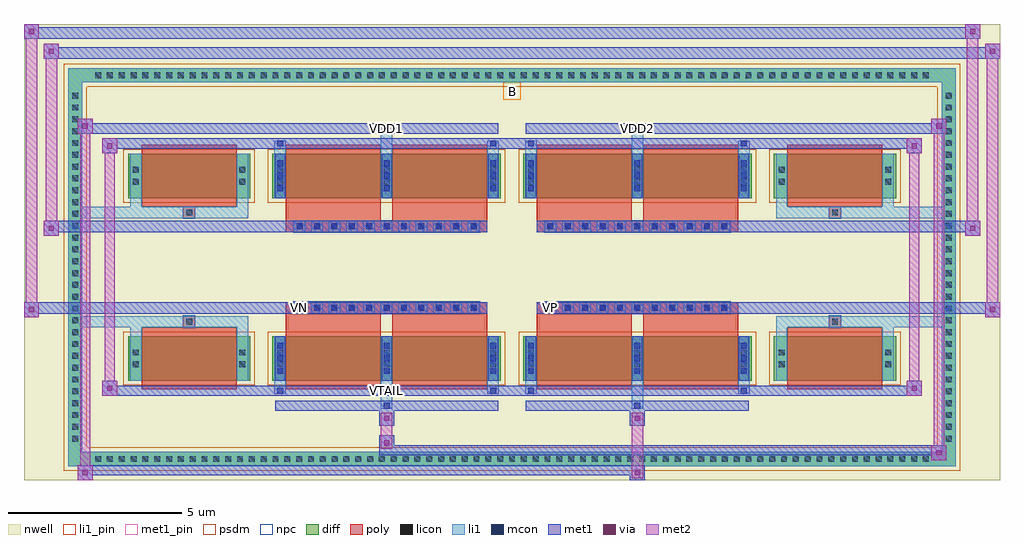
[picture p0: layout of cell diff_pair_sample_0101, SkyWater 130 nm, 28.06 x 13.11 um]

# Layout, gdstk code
import gdstk
lib = gdstk.Library(unit=1e-6, precision=5e-09)
def R(c, l, rs):  # rectangles x0, y0, x1, y1
    for r in rs: c.add(gdstk.rectangle(r[:2], r[2:], *l))
def A(c, l, x, y, w, h, nx, ny, dx, dy):  # array of equal rectangles
    R(c, l, [(x+i*dx, y+j*dy, x+i*dx+w, y+j*dy+h) for i in range(nx) for j in range(ny)])
def P(c, l, *ps):  # polygons
    for p in ps: c.add(gdstk.Polygon(p, *l))
nwell = (64, 20)
diff = (65, 20)
poly = (66, 20)
licon = (66, 44)
li1_pin = (67, 16)
li1 = (67, 20)
mcon = (67, 44)
met1_pin = (68, 16)
met1 = (68, 20)
via = (68, 44)
met2 = (69, 20)
psdm = (94, 20)
npc = (95, 20)

diff_pair_sample_0101 = lib.new_cell('diff_pair_sample_0101')
R(diff_pair_sample_0101, nwell, [(-14.03,-6.12,14.03,6.99), (-11.35,-4.31,-0.01,-0.805), (0.01,-4.31,11.35,-0.805), (-11.35,0.805,-0.01,4.31), (0.01,0.805,11.35,4.31)])
A(diff_pair_sample_0101, diff, -12.105, -5.72, 0.41, 0.41, 71, 2, 0.34, 11.03)
A(diff_pair_sample_0101, diff, -12.76, -5.135, 0.41, 0.41, 1, 30, 0, 0.34)
A(diff_pair_sample_0101, diff, 12.35, -5.135, 0.41, 0.41, 1, 30, 0, 0.34)
R(diff_pair_sample_0101, diff, [(-12.105,-5.72,12.105,-5.31), (-12.76,-5.135,-12.35,5.135), (12.35,-5.135,12.76,5.135), (-11.04,-3.265,-7.53,-1.985), (-6.89,-3.265,-0.32,-1.985), (0.32,-3.265,6.89,-1.985), (7.53,-3.265,11.04,-1.985), (-11.04,1.985,-7.53,3.265), (-6.89,1.985,-0.32,3.265), (0.32,1.985,6.89,3.265), (7.53,1.985,11.04,3.265), (-12.105,5.31,12.105,5.72)])
P(diff_pair_sample_0101, diff, [(12.76,5.72),(-12.76,5.72),(-12.76,-5.31),(-12.35,-5.31),(-12.35,5.31),(12.35,5.31),(12.35,-5.31),(-12.35,-5.31),(-12.76,-5.31),(-12.76,-5.72),(12.76,-5.72)])
A(diff_pair_sample_0101, poly, -6.27, -1.335, 0.33, 0.33, 11, 2, 0.5, 2.34)
A(diff_pair_sample_0101, poly, 0.94, -1.335, 0.33, 0.33, 11, 2, 0.5, 2.34)
R(diff_pair_sample_0101, poly, [(-10.65,-3.515,-7.92,-1.735), (-6.5,-3.515,-3.77,-1.735), (-3.44,-3.515,-0.71,-1.735), (0.71,-3.515,3.44,-1.735), (3.77,-3.515,6.5,-1.735), (7.92,-3.515,10.65,-1.735), (-9.45,-1.735,-9.12,-1.405), (-9.45,-1.735,-9.12,-1.405), (-6.5,-1.735,-3.77,-1.335), (-3.44,-1.735,-0.71,-1.335), (0.71,-1.735,3.44,-1.335), (3.77,-1.735,6.5,-1.335), (9.12,-1.735,9.45,-1.405), (9.12,-1.735,9.45,-1.405), (-6.5,-1.335,-0.71,-1.005), (0.71,-1.335,6.5,-1.005), (-6.5,1.005,-0.71,1.335), (0.71,1.005,6.5,1.335), (-6.5,1.335,-3.77,1.735), (-3.44,1.335,-0.71,1.735), (0.71,1.335,3.44,1.735), (3.77,1.335,6.5,1.735), (-9.45,1.405,-9.12,1.735), (-9.45,1.405,-9.12,1.735), (9.12,1.405,9.45,1.735), (9.12,1.405,9.45,1.735), (-10.65,1.735,-7.92,3.515), (-6.5,1.735,-3.77,3.515), (-3.44,1.735,-0.71,3.515), (0.71,1.735,3.44,3.515), (3.77,1.735,6.5,3.515), (7.92,1.735,10.65,3.515)])
A(diff_pair_sample_0101, licon, -11.985, -5.6, 0.17, 0.17, 71, 2, 0.34, 11.03)
A(diff_pair_sample_0101, licon, -12.64, -5.015, 0.17, 0.17, 1, 30, 0, 0.34)
A(diff_pair_sample_0101, licon, 12.47, -5.015, 0.17, 0.17, 1, 30, 0, 0.34)
A(diff_pair_sample_0101, licon, -6.75, -2.88, 0.17, 0.17, 3, 2, 3.06, 0.34)
A(diff_pair_sample_0101, licon, 0.46, -2.88, 0.17, 0.17, 3, 2, 3.06, 0.34)
A(diff_pair_sample_0101, licon, -6.19, -1.255, 0.17, 0.17, 11, 2, 0.5, 2.34)
A(diff_pair_sample_0101, licon, 1.02, -1.255, 0.17, 0.17, 11, 2, 0.5, 2.34)
A(diff_pair_sample_0101, licon, -6.75, 2.37, 0.17, 0.17, 3, 2, 3.06, 0.34)
A(diff_pair_sample_0101, licon, 0.46, 2.37, 0.17, 0.17, 3, 2, 3.06, 0.34)
R(diff_pair_sample_0101, licon, [(-10.9,-2.88,-10.73,-2.71), (-7.84,-2.88,-7.67,-2.71), (7.67,-2.88,7.84,-2.71), (10.73,-2.88,10.9,-2.71), (-10.9,-2.54,-10.73,-2.37), (-7.84,-2.54,-7.67,-2.37), (7.67,-2.54,7.84,-2.37), (10.73,-2.54,10.9,-2.37), (-9.37,-1.655,-9.2,-1.485), (9.2,-1.655,9.37,-1.485), (-9.37,1.485,-9.2,1.655), (9.2,1.485,9.37,1.655), (-10.9,2.37,-10.73,2.54), (-7.84,2.37,-7.67,2.54), (7.67,2.37,7.84,2.54), (10.73,2.37,10.9,2.54), (-10.9,2.71,-10.73,2.88), (-7.84,2.71,-7.67,2.88), (7.67,2.71,7.84,2.88), (10.73,2.71,10.9,2.88)])
R(diff_pair_sample_0101, li1_pin, [(-0.25,4.81,0.25,5.31)])
A(diff_pair_sample_0101, li1, -12.065, -5.68, 0.33, 0.33, 71, 2, 0.34, 11.03)
A(diff_pair_sample_0101, li1, -12.72, -5.095, 0.33, 0.33, 1, 30, 0, 0.34)
A(diff_pair_sample_0101, li1, 12.39, -5.095, 0.33, 0.33, 1, 30, 0, 0.34)
A(diff_pair_sample_0101, li1, -6.83, -3.265, 0.33, 1.28, 3, 2, 3.06, 5.25)
A(diff_pair_sample_0101, li1, 0.38, -3.265, 0.33, 1.28, 3, 2, 3.06, 5.25)
A(diff_pair_sample_0101, li1, -6.75, -3.07, 0.17, 0.17, 3, 3, 3.06, 0.36)
A(diff_pair_sample_0101, li1, -6.75, -3.07, 0.17, 0.89, 3, 2, 3.06, 5.25)
A(diff_pair_sample_0101, li1, 0.46, -3.07, 0.17, 0.17, 3, 3, 3.06, 0.36)
A(diff_pair_sample_0101, li1, 0.46, -3.07, 0.17, 0.89, 3, 2, 3.06, 5.25)
A(diff_pair_sample_0101, li1, -6.83, -2.96, 0.33, 0.33, 3, 2, 3.06, 0.34)
A(diff_pair_sample_0101, li1, 0.38, -2.96, 0.33, 0.33, 3, 2, 3.06, 0.34)
A(diff_pair_sample_0101, li1, -6.27, -1.335, 0.33, 0.33, 11, 2, 0.5, 2.34)
A(diff_pair_sample_0101, li1, 0.94, -1.335, 0.33, 0.33, 11, 2, 0.5, 2.34)
A(diff_pair_sample_0101, li1, -6.75, 2.18, 0.17, 0.17, 3, 3, 3.06, 0.36)
A(diff_pair_sample_0101, li1, 0.46, 2.18, 0.17, 0.17, 3, 3, 3.06, 0.36)
A(diff_pair_sample_0101, li1, -6.83, 2.29, 0.33, 0.33, 3, 2, 3.06, 0.34)
A(diff_pair_sample_0101, li1, 0.38, 2.29, 0.33, 0.33, 3, 2, 3.06, 0.34)
R(diff_pair_sample_0101, li1, [(-12.76,-5.72,-12.35,-5.31), (-12.76,-5.72,-12.35,-5.31), (-12.35,-5.72,12.35,-5.31), (12.35,-5.72,12.76,-5.31), (12.35,-5.72,12.76,-5.31), (-12.76,-5.31,-12.35,5.31), (12.35,-5.31,12.76,5.31), (-3.77,-4.07,-3.44,-3.265), (-3.69,-4.07,-3.52,-3.9), (3.44,-4.07,3.77,-3.265), (3.52,-4.07,3.69,-3.9), (-6.83,-3.64,-6.5,-3.265), (-6.75,-3.64,-6.58,-3.47), (-0.71,-3.64,-0.38,-3.265), (-0.63,-3.64,-0.46,-3.47), (0.38,-3.64,0.71,-3.265), (0.46,-3.64,0.63,-3.47), (6.5,-3.64,6.83,-3.265), (6.58,-3.64,6.75,-3.47), (-10.98,-3.265,-10.65,-1.985), (-7.92,-3.265,-7.59,-1.985), (7.59,-3.265,7.92,-1.985), (10.65,-3.265,10.98,-1.985), (-10.98,-2.96,-10.65,-2.63), (-7.92,-2.96,-7.59,-2.63), (7.59,-2.96,7.92,-2.63), (10.65,-2.96,10.98,-2.63), (-10.98,-2.62,-10.65,-2.29), (-7.92,-2.62,-7.59,-2.29), (7.59,-2.62,7.92,-2.29), (10.65,-2.62,10.98,-2.29), (-10.98,-1.985,-10.65,-1.405), (-7.92,-1.985,-7.59,-1.405), (7.59,-1.985,7.92,-1.405), (10.65,-1.985,10.98,-1.405), (-12.76,-1.735,-9.45,-1.405), (-10.98,-1.735,-9.45,-1.405), (-9.45,-1.735,-9.12,-1.405), (-9.12,-1.735,-7.59,-1.405), (7.59,-1.735,9.12,-1.405), (9.12,-1.735,9.45,-1.405), (9.12,-1.735,12.76,-1.405), (9.45,-1.735,10.98,-1.405), (-12.76,1.405,-9.45,1.735), (-10.98,1.405,-9.45,1.735), (-10.98,1.405,-10.65,1.985), (-9.45,1.405,-9.12,1.735), (-9.12,1.405,-7.59,1.735), (-7.92,1.405,-7.59,1.985), (7.59,1.405,9.12,1.735), (7.59,1.405,7.92,1.985), (9.12,1.405,9.45,1.735), (9.12,1.405,12.76,1.735), (9.45,1.405,10.98,1.735), (10.65,1.405,10.98,1.985), (-10.98,1.985,-10.65,3.265), (-7.92,1.985,-7.59,3.265), (7.59,1.985,7.92,3.265), (10.65,1.985,10.98,3.265), (-10.98,2.29,-10.65,2.62), (-7.92,2.29,-7.59,2.62), (7.59,2.29,7.92,2.62), (10.65,2.29,10.98,2.62), (-10.98,2.63,-10.65,2.96), (-7.92,2.63,-7.59,2.96), (7.59,2.63,7.92,2.96), (10.65,2.63,10.98,2.96), (-6.83,3.265,-6.5,3.64), (-3.77,3.265,-3.44,4.07), (-0.71,3.265,-0.38,3.64), (0.38,3.265,0.71,3.64), (3.44,3.265,3.77,4.07), (6.5,3.265,6.83,3.64), (-6.75,3.47,-6.58,3.64), (-0.63,3.47,-0.46,3.64), (0.46,3.47,0.63,3.64), (6.58,3.47,6.75,3.64), (-3.69,3.9,-3.52,4.07), (3.52,3.9,3.69,4.07), (-12.76,5.31,-12.35,5.72), (-12.76,5.31,-12.35,5.72), (-12.35,5.31,12.35,5.72), (12.35,5.31,12.76,5.72), (12.35,5.31,12.76,5.72)])
A(diff_pair_sample_0101, mcon, -6.75, -3.07, 0.17, 0.17, 3, 3, 3.06, 0.36)
A(diff_pair_sample_0101, mcon, 0.46, -3.07, 0.17, 0.17, 3, 3, 3.06, 0.36)
A(diff_pair_sample_0101, mcon, -6.19, -1.255, 0.17, 0.17, 11, 2, 0.5, 2.34)
A(diff_pair_sample_0101, mcon, 1.02, -1.255, 0.17, 0.17, 11, 2, 0.5, 2.34)
A(diff_pair_sample_0101, mcon, -6.75, 2.18, 0.17, 0.17, 3, 3, 3.06, 0.36)
A(diff_pair_sample_0101, mcon, 0.46, 2.18, 0.17, 0.17, 3, 3, 3.06, 0.36)
R(diff_pair_sample_0101, mcon, [(-3.69,-4.07,-3.52,-3.9), (3.52,-4.07,3.69,-3.9), (-6.75,-3.64,-6.58,-3.47), (-0.63,-3.64,-0.46,-3.47), (0.46,-3.64,0.63,-3.47), (6.58,-3.64,6.75,-3.47), (-6.75,3.47,-6.58,3.64), (-0.63,3.47,-0.46,3.64), (0.46,3.47,0.63,3.64), (6.58,3.47,6.75,3.64), (-3.69,3.9,-3.52,4.07), (3.52,3.9,3.69,4.07)])
R(diff_pair_sample_0101, met1_pin, [(-3.74,-3.68,-3.47,-3.41), (-6.24,-1.295,-5.97,-1.025), (0.97,-1.295,1.24,-1.025), (-3.74,3.86,-3.47,4.13), (3.47,3.86,3.74,4.13)])
A(diff_pair_sample_0101, met1, -6.81, -3.265, 0.29, 1.28, 3, 2, 3.06, 5.25)
A(diff_pair_sample_0101, met1, 0.4, -3.265, 0.29, 1.28, 3, 2, 3.06, 5.25)
A(diff_pair_sample_0101, met1, -6.81, -3.13, 0.29, 0.29, 3, 3, 3.06, 0.36)
A(diff_pair_sample_0101, met1, 0.4, -3.13, 0.29, 0.29, 3, 3, 3.06, 0.36)
A(diff_pair_sample_0101, met1, -6.25, -1.315, 0.29, 0.29, 11, 2, 0.5, 2.34)
A(diff_pair_sample_0101, met1, 0.96, -1.315, 0.29, 0.29, 11, 2, 0.5, 2.34)
A(diff_pair_sample_0101, met1, -6.81, 2.12, 0.29, 0.29, 3, 3, 3.06, 0.36)
A(diff_pair_sample_0101, met1, 0.4, 2.12, 0.29, 0.29, 3, 3, 3.06, 0.36)
R(diff_pair_sample_0101, met1, [(-12.49,-6.12,-12.06,-5.69), (3.39,-6.12,3.82,-5.69), (-12.49,-5.98,3.82,-5.69), (12.06,-5.55,12.49,-5.12), (-3.82,-5.41,12.49,-5.12), (-3.82,-5.27,-3.39,-4.84), (-3.82,-4.56,-3.39,-4.13), (3.39,-4.56,3.82,-4.13), (-6.81,-4.13,-0.4,-3.84), (-3.75,-4.13,-3.46,-3.84), (0.4,-4.13,6.81,-3.84), (3.46,-4.13,3.75,-3.84), (-11.78,-3.7,-11.35,-3.27), (-11.78,-3.7,-6.81,-3.41), (-6.81,-3.7,-6.52,-3.41), (-6.81,-3.7,-0.4,-3.41), (-0.69,-3.7,-0.4,-3.41), (-0.4,-3.7,0.4,-3.41), (0.4,-3.7,0.69,-3.41), (0.4,-3.7,6.81,-3.41), (6.52,-3.7,6.81,-3.41), (6.81,-3.7,11.78,-3.41), (11.35,-3.7,11.78,-3.27), (-14.03,-1.435,-13.6,-1.005), (13.6,-1.435,14.03,-1.005), (-14.03,-1.335,-0.71,-1.005), (-6.5,-1.335,-0.71,-1.005), (0.71,-1.335,6.5,-1.005), (0.71,-1.335,14.03,-1.005), (-13.46,0.905,-13.03,1.335), (13.03,0.905,13.46,1.335), (-13.46,1.005,-6.5,1.335), (-6.5,1.005,-0.71,1.335), (0.71,1.005,6.5,1.335), (6.5,1.005,13.46,1.335), (-11.78,3.27,-11.35,3.7), (11.35,3.27,11.78,3.7), (-11.78,3.41,-6.81,3.7), (-6.81,3.41,-6.52,3.7), (-6.81,3.41,-0.4,3.7), (-0.69,3.41,-0.4,3.7), (-0.4,3.41,0.4,3.7), (0.4,3.41,0.69,3.7), (0.4,3.41,6.81,3.7), (6.52,3.41,6.81,3.7), (6.81,3.41,11.78,3.7), (-12.49,3.84,-12.06,4.27), (-12.49,3.84,-6.81,4.13), (-6.81,3.84,-0.4,4.13), (-3.75,3.84,-3.46,4.13), (0.4,3.84,6.81,4.13), (3.46,3.84,3.75,4.13), (6.81,3.84,12.49,4.13), (12.06,3.84,12.49,4.27), (-13.46,5.99,-13.03,6.42), (-13.46,5.99,-11.35,6.32), (-11.35,5.99,11.35,6.32), (11.35,5.99,14.03,6.32), (13.6,5.99,14.03,6.42), (-14.03,6.56,-13.6,6.99), (-14.03,6.56,-11.35,6.89), (-11.35,6.56,11.35,6.89), (11.35,6.56,13.46,6.89), (13.03,6.56,13.46,6.99)])
R(diff_pair_sample_0101, via, [(-12.35,-5.98,-12.2,-5.83), (3.53,-5.98,3.68,-5.83), (12.2,-5.41,12.35,-5.26), (-3.68,-5.13,-3.53,-4.98), (-3.68,-4.42,-3.53,-4.27), (3.53,-4.42,3.68,-4.27), (-11.64,-3.56,-11.49,-3.41), (11.49,-3.56,11.64,-3.41), (-13.89,-1.295,-13.74,-1.145), (13.74,-1.295,13.89,-1.145), (-13.32,1.045,-13.17,1.195), (13.17,1.045,13.32,1.195), (-11.64,3.41,-11.49,3.56), (11.49,3.41,11.64,3.56), (-12.35,3.98,-12.2,4.13), (12.2,3.98,12.35,4.13), (-13.32,6.13,-13.17,6.28), (13.74,6.13,13.89,6.28), (-13.89,6.7,-13.74,6.85), (13.17,6.7,13.32,6.85)])
R(diff_pair_sample_0101, met2, [(-12.49,-6.12,-12.06,-5.69), (-12.42,-6.12,-12.13,4.27), (-12.13,-6.12,-12.06,-5.69), (-12.44,-6.07,-12.11,-5.74), (3.44,-6.07,3.77,-5.74), (3.44,-5.74,3.77,-4.51), (12.06,-5.55,12.49,-5.12), (12.13,-5.55,12.42,4.27), (12.42,-5.55,12.49,-5.12), (12.11,-5.5,12.44,-5.17), (-3.77,-5.22,-3.44,-4.89), (-3.77,-4.89,-3.44,-4.51), (-3.77,-4.51,-3.44,-4.18), (3.44,-4.51,3.77,-4.18), (-11.78,-3.7,-11.35,-3.27), (-11.71,-3.7,-11.42,3.7), (-11.42,-3.7,-11.35,-3.27), (11.35,-3.7,11.78,-3.27), (11.42,-3.7,11.71,3.7), (11.71,-3.7,11.78,-3.27), (-11.73,-3.65,-11.4,-3.32), (11.4,-3.65,11.73,-3.32), (-14.03,-1.435,-13.6,-1.005), (-13.98,-1.435,-13.65,6.99), (-13.65,-1.435,-13.6,-1.005), (13.6,-1.435,14.03,-1.005), (13.65,-1.435,13.98,6.42), (13.98,-1.435,14.03,-1.005), (-13.98,-1.385,-13.65,-1.055), (13.65,-1.385,13.98,-1.055), (-13.46,0.905,-13.03,1.335), (-13.41,0.905,-13.08,6.42), (-13.08,0.905,-13.03,1.335), (13.03,0.905,13.46,1.335), (13.08,0.905,13.41,6.99), (13.41,0.905,13.46,1.335), (-13.41,0.955,-13.08,1.285), (13.08,0.955,13.41,1.285), (-11.78,3.27,-11.35,3.7), (-11.42,3.27,-11.35,3.7), (11.35,3.27,11.78,3.7), (11.71,3.27,11.78,3.7), (-11.73,3.32,-11.4,3.65), (11.4,3.32,11.73,3.65), (-12.49,3.84,-12.06,4.27), (-12.13,3.84,-12.06,4.27), (12.06,3.84,12.49,4.27), (12.42,3.84,12.49,4.27), (-12.44,3.89,-12.11,4.22), (12.11,3.89,12.44,4.22), (-13.46,5.99,-13.03,6.42), (-13.08,5.99,-13.03,6.42), (13.6,5.99,14.03,6.42), (13.98,5.99,14.03,6.42), (-13.41,6.04,-13.08,6.37), (13.65,6.04,13.98,6.37), (-14.03,6.56,-13.6,6.99), (-13.65,6.56,-13.6,6.99), (13.03,6.56,13.46,6.99), (13.41,6.56,13.46,6.99), (-13.98,6.61,-13.65,6.94), (13.08,6.61,13.41,6.94)])
R(diff_pair_sample_0101, psdm, [(-11.17,-3.395,-7.4,-1.855), (-7.02,-3.395,-0.19,-1.855), (0.19,-3.395,7.02,-1.855), (7.4,-3.395,11.17,-1.855), (-11.17,1.855,-7.4,3.395), (-7.02,1.855,-0.19,3.395), (0.19,1.855,7.02,3.395), (7.4,1.855,11.17,3.395)])
P(diff_pair_sample_0101, psdm, [(12.89,5.85),(-12.89,5.85),(-12.89,-5.18),(-12.22,-5.18),(-12.22,5.18),(12.22,5.18),(12.22,-5.18),(-12.22,-5.18),(-12.89,-5.18),(-12.89,-5.85),(12.89,-5.85)])
A(diff_pair_sample_0101, npc, -6.29, -1.355, 0.37, 0.37, 11, 2, 0.5, 2.34)
A(diff_pair_sample_0101, npc, 0.92, -1.355, 0.37, 0.37, 11, 2, 0.5, 2.34)
R(diff_pair_sample_0101, npc, [(-9.47,-1.755,-9.1,-1.385), (9.1,-1.755,9.47,-1.385), (-6.29,-1.355,-5.42,-0.985), (-6.29,-1.355,-5.42,-0.985), (-5.79,-1.355,-4.92,-0.985), (-5.79,-1.355,-4.92,-0.985), (-5.29,-1.355,-4.42,-0.985), (-5.29,-1.355,-4.42,-0.985), (-4.79,-1.355,-3.92,-0.985), (-4.79,-1.355,-3.92,-0.985), (-4.29,-1.355,-3.42,-0.985), (-4.29,-1.355,-3.42,-0.985), (-3.79,-1.355,-2.92,-0.985), (-3.79,-1.355,-2.92,-0.985), (-3.29,-1.355,-2.42,-0.985), (-3.29,-1.355,-2.42,-0.985), (-2.79,-1.355,-1.92,-0.985), (-2.79,-1.355,-1.92,-0.985), (-2.29,-1.355,-1.42,-0.985), (-2.29,-1.355,-1.42,-0.985), (-1.79,-1.355,-0.92,-0.985), (-1.79,-1.355,-0.92,-0.985), (0.92,-1.355,1.79,-0.985), (0.92,-1.355,1.79,-0.985), (1.42,-1.355,2.29,-0.985), (1.42,-1.355,2.29,-0.985), (1.92,-1.355,2.79,-0.985), (1.92,-1.355,2.79,-0.985), (2.42,-1.355,3.29,-0.985), (2.42,-1.355,3.29,-0.985), (2.92,-1.355,3.79,-0.985), (2.92,-1.355,3.79,-0.985), (3.42,-1.355,4.29,-0.985), (3.42,-1.355,4.29,-0.985), (3.92,-1.355,4.79,-0.985), (3.92,-1.355,4.79,-0.985), (4.42,-1.355,5.29,-0.985), (4.42,-1.355,5.29,-0.985), (4.92,-1.355,5.79,-0.985), (4.92,-1.355,5.79,-0.985), (5.42,-1.355,6.29,-0.985), (5.42,-1.355,6.29,-0.985), (-6.29,0.985,-5.42,1.355), (-6.29,0.985,-5.42,1.355), (-5.79,0.985,-4.92,1.355), (-5.79,0.985,-4.92,1.355), (-5.29,0.985,-4.42,1.355), (-5.29,0.985,-4.42,1.355), (-4.79,0.985,-3.92,1.355), (-4.79,0.985,-3.92,1.355), (-4.29,0.985,-3.42,1.355), (-4.29,0.985,-3.42,1.355), (-3.79,0.985,-2.92,1.355), (-3.79,0.985,-2.92,1.355), (-3.29,0.985,-2.42,1.355), (-3.29,0.985,-2.42,1.355), (-2.79,0.985,-1.92,1.355), (-2.79,0.985,-1.92,1.355), (-2.29,0.985,-1.42,1.355), (-2.29,0.985,-1.42,1.355), (-1.79,0.985,-0.92,1.355), (-1.79,0.985,-0.92,1.355), (0.92,0.985,1.79,1.355), (0.92,0.985,1.79,1.355), (1.42,0.985,2.29,1.355), (1.42,0.985,2.29,1.355), (1.92,0.985,2.79,1.355), (1.92,0.985,2.79,1.355), (2.42,0.985,3.29,1.355), (2.42,0.985,3.29,1.355), (2.92,0.985,3.79,1.355), (2.92,0.985,3.79,1.355), (3.42,0.985,4.29,1.355), (3.42,0.985,4.29,1.355), (3.92,0.985,4.79,1.355), (3.92,0.985,4.79,1.355), (4.42,0.985,5.29,1.355), (4.42,0.985,5.29,1.355), (4.92,0.985,5.79,1.355), (4.92,0.985,5.79,1.355), (5.42,0.985,6.29,1.355), (5.42,0.985,6.29,1.355), (-9.47,1.385,-9.1,1.755), (9.1,1.385,9.47,1.755)])
diff_pair_sample_0101.add(gdstk.Label('VTAIL', (-3.605,-3.545), layer=68, texttype=5))
diff_pair_sample_0101.add(gdstk.Label('VN', (-6.105,-1.16), layer=68, texttype=5))
diff_pair_sample_0101.add(gdstk.Label('VP', (1.105,-1.16), layer=68, texttype=5))
diff_pair_sample_0101.add(gdstk.Label('B', (0,5.06), layer=67, texttype=5))
diff_pair_sample_0101.add(gdstk.Label('VDD2', (3.605,3.995), layer=68, texttype=5))
diff_pair_sample_0101.add(gdstk.Label('VDD1', (-3.605,3.995), layer=68, texttype=5))

lib.write_gds('diff_pair_sample_0101.gds')
